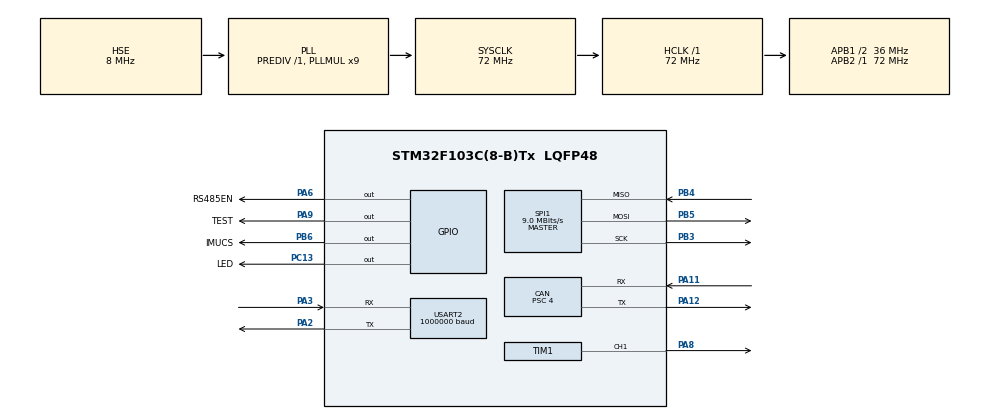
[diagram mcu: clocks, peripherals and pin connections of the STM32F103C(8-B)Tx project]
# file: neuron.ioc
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CAN.BS1=CAN_BS1_4TQ
CAN.BS2=CAN_BS2_4TQ
CAN.CalculateTimeBit=1000
CAN.CalculateTimeQuantum=111.11111111111111
CAN.Prescaler=4
Mcu.Family=STM32F1
Mcu.Name=STM32F103C(8-B)Tx
Mcu.Package=LQFP48
NVIC.CAN1_RX1_IRQn=true\:0\:0\:false\:false\:true
NVIC.PriorityGroup=NVIC_PRIORITYGROUP_4
NVIC.USART2_IRQn=true\:0\:0\:false\:false\:true
PA11.Mode=Master
PA11.Signal=CAN_RX
PA12.Mode=Master
PA12.Signal=CAN_TX
PA13.Mode=Serial_Wire
PA13.Signal=SYS_JTMS-SWDIO
PA14.Mode=Serial_Wire
PA14.Signal=SYS_JTCK-SWCLK
PA2.Mode=Asynchronous
PA2.Signal=USART2_TX
PA3.GPIO_PuPd=GPIO_PULLUP
PA3.Mode=Asynchronous
PA3.Signal=USART2_RX
PA6.GPIO_Label=RS485EN
PA6.Signal=GPIO_Output
PA8.Signal=S_TIM1_CH1
PA9.GPIO_Label=TEST
PA9.Signal=GPIO_Output
PB3.Mode=Full_Duplex_Master
PB3.Signal=SPI1_SCK
PB4.Mode=Full_Duplex_Master
PB4.Signal=SPI1_MISO
PB5.Mode=Full_Duplex_Master
PB5.Signal=SPI1_MOSI
PB6.GPIO_Label=IMUCS
PB6.Signal=GPIO_Output
PC13-TAMPER-RTC.GPIO_Label=LED
PC13-TAMPER-RTC.Signal=GPIO_Output
PD0-OSC_IN.Mode=HSE-External-Oscillator
PD0-OSC_IN.Signal=RCC_OSC_IN
PD1-OSC_OUT.Mode=HSE-External-Oscillator
PD1-OSC_OUT.Signal=RCC_OSC_OUT
ProjectManager.HeapSize=0x200
ProjectManager.StackSize=0x400
ProjectManager.TargetToolchain=TrueSTUDIO
RCC.AHBFreq_Value=72000000
RCC.APB1CLKDivider=RCC_HCLK_DIV2
RCC.APB1Freq_Value=36000000
RCC.APB1TimCLKDivider=1
RCC.APB1TimFreq_Value=36000000
RCC.APB2Freq_Value=72000000
RCC.APB2TimFreq_Value=72000000
RCC.HCLKFreq_Value=72000000
RCC.HSIState=RCC_HSI_ON
RCC.PLLMUL=RCC_PLL_MUL9
RCC.PLLSourceVirtual=RCC_PLLSOURCE_HSE
RCC.SYSCLKFreq_VALUE=72000000
RCC.SYSCLKSource=RCC_SYSCLKSOURCE_PLLCLK
RCC.USBFreq_Value=72000000
SH.S_TIM1_CH1.0=TIM1_CH1,PWM Generation1 CH1
SPI1.BaudRatePrescaler=SPI_BAUDRATEPRESCALER_8
SPI1.CalculateBaudRate=9.0 MBits/s
SPI1.Mode=SPI_MODE_MASTER
TIM1.CounterMode=TIM_COUNTERMODE_CENTERALIGNED1
TIM1.Period=36000
TIM1.Prescaler=1
TIM1.Pulse-PWM\ Generation1\ CH1=18000
USART2.BaudRate=1000000
VP_TIM1_VS_ClockSourceINT.Mode=Internal
board=neuron

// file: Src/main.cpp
/**
  ******************************************************************************
  * File Name          : main.c
  * Description        : Main program body
  ******************************************************************************
  *
  * COPYRIGHT(c) 2016 STMicroelectronics
  *
  * Redistribution and use in source and binary forms, with or without modification,
  * are permitted provided that the following conditions are met:
  *   1. Redistributions of source code must retain the above copyright notice,
  *      this list of conditions and the following disclaimer.
  *   2. Redistributions in binary form must reproduce the above copyright notice,
  *      this list of conditions and the following disclaimer in the documentation
  *      and/or other materials provided with the distribution.
  *   3. Neither the name of STMicroelectronics nor the names of its contributors
  *      may be used to endorse or promote products derived from this software
  *      without specific prior written permission.
  *
  * THIS SOFTWARE IS PROVIDED BY THE COPYRIGHT HOLDERS AND CONTRIBUTORS "AS IS"
  * AND ANY EXPRESS OR IMPLIED WARRANTIES, INCLUDING, BUT NOT LIMITED TO, THE
  * IMPLIED WARRANTIES OF MERCHANTABILITY AND FITNESS FOR A PARTICULAR PURPOSE ARE
  * DISCLAIMED. IN NO EVENT SHALL THE COPYRIGHT HOLDER OR CONTRIBUTORS BE LIABLE
  * FOR ANY DIRECT, INDIRECT, INCIDENTAL, SPECIAL, EXEMPLARY, OR CONSEQUENTIAL
  * DAMAGES (INCLUDING, BUT NOT LIMITED TO, PROCUREMENT OF SUBSTITUTE GOODS OR
  * SERVICES; LOSS OF USE, DATA, OR PROFITS; OR BUSINESS INTERRUPTION) HOWEVER
  * CAUSED AND ON ANY THEORY OF LIABILITY, WHETHER IN CONTRACT, STRICT LIABILITY,
  * OR TORT (INCLUDING NEGLIGENCE OR OTHERWISE) ARISING IN ANY WAY OUT OF THE USE
  * OF THIS SOFTWARE, EVEN IF ADVISED OF THE POSSIBILITY OF SUCH DAMAGE.
  *
  ******************************************************************************
  */

#include "stm32f1xx_hal.h"

#include "can.h"
//#include "iwdg.h"
#include "spi.h"
#include "tim.h"
#include "usart.h"
#include "gpio.h"

/* USER CODE BEGIN Includes */
#include "stdint.h"
#include "can_device_manager.h"
#include "imu_mpu9250.h"
#include "servo.h"
#include "motor.h"
#include "flashmemory.h"
#include "initializer.h"

/* USER CODE END Includes */

/* USER CODE BEGIN PV */
/* Private variables ---------------------------------------------------------*/
namespace {
	bool start_process_flag_ = false;
	bool receive_flag_ = false;
	Motor motor_;
	IMU imu_;
	Servo servo_;
}

/* USER CODE END PV */

void SystemClock_Config(void);
void Error_Handler(void);

/* USER CODE BEGIN PFP */
/* Private function prototypes -----------------------------------------------*/
// main subrutine for update enach instance
void HAL_SYSTICK_Callback(void)
{
  if (!start_process_flag_) return;
  CANDeviceManager::tick(1);
  motor_.update();
  imu_.update();
  servo_.update();
}

/* USER CODE END PFP */

/* USER CODE BEGIN 0 */

void CANDeviceManager::userReceiveMessagesCallback(uint8_t slave_id, uint8_t device_id, uint8_t message_id, uint32_t DLC, uint8_t* data)
{
	if (device_id == CAN::DEVICEID_SERVO && message_id == CAN::MESSAGEID_RECEIVE_SERVO_ANGLE) {
		receive_flag_ = true;
	}
}

/* USER CODE END 0 */
int main(void)
{

  /* MCU Configuration----------------------------------------------------------*/

  /* Reset of all peripherals, Initializes the Flash interface and the Systick. */
  HAL_Init();

  /* Configure the system clock */
  SystemClock_Config();

  /* Initialize all configured peripherals */
  MX_GPIO_Init();
  MX_CAN_Init();
  //MX_IWDG_Init();
  MX_SPI1_Init();
  MX_TIM1_Init();
  MX_USART2_UART_Init();

  /* USER CODE BEGIN 2 */
  Flashmemory::init(FLASH_BASE + FLASH_PAGE_SIZE * 63); //64th page
  uint16_t slave_id;
  Flashmemory::addValue(&slave_id, 2);
  Flashmemory::read();
  if (slave_id == 0 || slave_id > 14) {
	  slave_id = 1;
	  Flashmemory::erase();
	  Flashmemory::write();
	  return 0;
  }
  motor_ = Motor(slave_id);
  imu_ = IMU(slave_id);
  servo_ = Servo(slave_id);
  Initializer initializer(slave_id, servo_, imu_);
  motor_.init(&htim1);
  HAL_Delay(300); //wait servo init
  servo_.init(&huart2);
  imu_.init(&hspi1);
  CANDeviceManager::init(&hcan, slave_id, GPIOC, GPIO_PIN_13);
  CANDeviceManager::addDevice(&motor_);
  CANDeviceManager::addDevice(&imu_);
  CANDeviceManager::addDevice(&servo_);
  CANDeviceManager::addDevice(&initializer);

  start_process_flag_ = true;
  /* USER CODE END 2 */

  /* Infinite loop */
  while (1)
  {
  /* USER CODE BEGIN 3 */
    if (receive_flag_)
    {
    	receive_flag_ = false;
    	servo_.sendData();
    	imu_.sendData();
    }
    CANDeviceManager::Receive_IT();
  }
  /* USER CODE END 3 */
}

/** System Clock Configuration
*/
void SystemClock_Config(void)
{

  RCC_OscInitTypeDef RCC_OscInitStruct;
  RCC_ClkInitTypeDef RCC_ClkInitStruct;

  RCC_OscInitStruct.OscillatorType = RCC_OSCILLATORTYPE_LSI|RCC_OSCILLATORTYPE_HSE;
  RCC_OscInitStruct.HSEState = RCC_HSE_ON;
  RCC_OscInitStruct.HSEPredivValue = RCC_HSE_PREDIV_DIV1;
  RCC_OscInitStruct.LSIState = RCC_LSI_ON;
  RCC_OscInitStruct.PLL.PLLState = RCC_PLL_ON;
  RCC_OscInitStruct.PLL.PLLSource = RCC_PLLSOURCE_HSE;
  RCC_OscInitStruct.PLL.PLLMUL = RCC_PLL_MUL9;
  if (HAL_RCC_OscConfig(&RCC_OscInitStruct) != HAL_OK)
  {
    Error_Handler();
  }

  RCC_ClkInitStruct.ClockType = RCC_CLOCKTYPE_HCLK|RCC_CLOCKTYPE_SYSCLK
                              |RCC_CLOCKTYPE_PCLK1|RCC_CLOCKTYPE_PCLK2;
  RCC_ClkInitStruct.SYSCLKSource = RCC_SYSCLKSOURCE_PLLCLK;
  RCC_ClkInitStruct.AHBCLKDivider = RCC_SYSCLK_DIV1;
  RCC_ClkInitStruct.APB1CLKDivider = RCC_HCLK_DIV2;
  RCC_ClkInitStruct.APB2CLKDivider = RCC_HCLK_DIV1;
  if (HAL_RCC_ClockConfig(&RCC_ClkInitStruct, FLASH_LATENCY_2) != HAL_OK)
  {
    Error_Handler();
  }

  HAL_SYSTICK_Config(HAL_RCC_GetHCLKFreq()/1000);

  HAL_SYSTICK_CLKSourceConfig(SYSTICK_CLKSOURCE_HCLK);

  /* SysTick_IRQn interrupt configuration */
  HAL_NVIC_SetPriority(SysTick_IRQn, 0, 0);
}

void Error_Handler(void)
{
  while(1)
  {
  }
}

/************************ (C) COPYRIGHT STMicroelectronics *****END OF FILE****/
